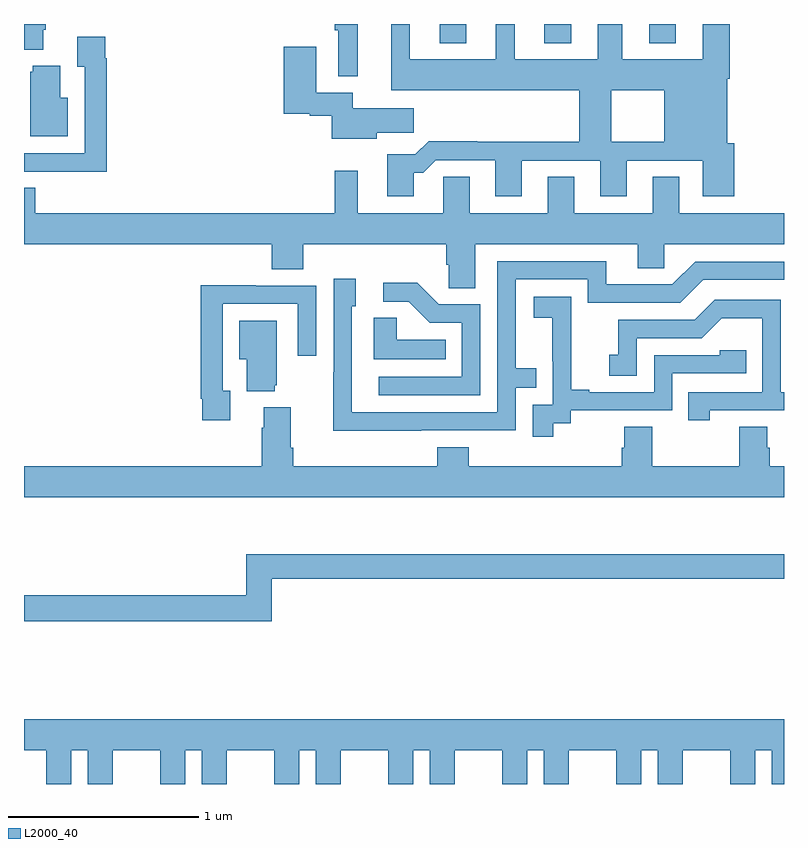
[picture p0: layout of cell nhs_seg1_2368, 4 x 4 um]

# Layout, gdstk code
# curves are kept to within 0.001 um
import gdstk
lib = gdstk.Library(unit=1e-6, precision=1e-09)
def R(c, l, rs):  # rectangles x0, y0, x1, y1
    for r in rs: c.add(gdstk.rectangle(r[:2], r[2:], *l))
def A(c, l, x, y, w, h, nx, ny, dx, dy):  # array of equal rectangles
    R(c, l, [(x+i*dx, y+j*dy, x+i*dx+w, y+j*dy+h) for i in range(nx) for j in range(ny)])
def P(c, l, *ps):  # polygons
    for p in ps: c.add(gdstk.Polygon(p, *l))
L2000_40 = (2000, 40)

nhs_seg1_2368 = lib.new_cell('nhs_seg1_2368')
A(nhs_seg1_2368, L2000_40, 241.187, 578.099, 0.14, 0.1, 3, 1, 0.552, 0)
P(nhs_seg1_2368, L2000_40, [(240.757,578.199),(240.636,578.199),(240.636,578.167),(240.653,578.167),(240.653,577.923),(240.757,577.923)],
  [(241.385,577.583),(241.13,577.583),(241.06,577.513),(240.911,577.513),(240.911,577.293),(241.051,577.293),(241.051,577.415),(241.1,577.415),(241.167,577.482),(241.481,577.482),(241.481,577.293),(241.621,577.293),(241.621,577.479),(242.033,577.479),(242.033,577.293),(242.173,577.293),(242.173,577.479),(242.573,577.479),(242.573,577.293),(242.738,577.293),(242.738,577.572),(242.701,577.572),(242.701,577.91),(242.714,577.91),(242.714,578.199),(242.573,578.199),(242.573,578.014),(242.149,578.014),(242.149,578.199),(242.021,578.199),(242.021,578.014),(241.582,578.014),(241.582,578.199),(241.484,578.199),(241.484,578.014),(241.03,578.014),(241.03,578.199),(240.932,578.199),(240.932,577.85),(241.922,577.85),(241.922,577.58),(242.092,577.58),(242.092,577.85),(242.369,577.85),(242.369,577.58),(241.385,577.58)],
  [(239,578.063),(239.101,578.063),(239.101,578.17),(239.114,578.17),(239.114,578.199),(239,578.199)],
  [(239.435,578.018),(239.428,578.018),(239.428,578.131),(239.279,578.131),(239.279,577.975),(239.319,577.975),(239.319,577.518),(239,577.518),(239,577.422),(239.143,577.422),(239.143,577.421),(239.435,577.421)],
  [(240.856,577.627),(241.051,577.627),(241.051,577.756),(240.73,577.756),(240.73,577.837),(240.538,577.837),(240.538,578.08),(240.368,578.08),(240.368,577.727),(240.504,577.727),(240.504,577.715),(240.62,577.715),(240.62,577.595),(240.856,577.595)],
  [(239.23,577.81),(239.191,577.81),(239.191,577.978),(239.045,577.978),(239.045,577.947),(239.033,577.947),(239.033,577.607),(239.23,577.607)],
  [(242.37,577.04),(243,577.04),(243,577.204),(242.449,577.204),(242.449,577.394),(242.309,577.394),(242.309,577.204),(241.897,577.204),(241.897,577.394),(241.757,577.394),(241.757,577.204),(241.345,577.204),(241.345,577.394),(241.206,577.394),(241.206,577.204),(240.757,577.204),(240.757,577.426),(240.636,577.426),(240.636,577.204),(239.06,577.204),(239.06,577.337),(239,577.337),(239,577.04),(240.305,577.04),(240.305,576.907),(240.47,576.907),(240.47,577.04),(241.223,577.04),(241.223,576.931),(241.236,576.931),(241.236,576.808),(241.375,576.808),(241.375,577.04),(242.231,577.04),(242.231,576.913),(242.37,576.913)],
  [(241.091,576.06),(241.587,576.06),(241.587,576.285),(241.697,576.285),(241.697,576.386),(241.587,576.386),(241.587,576.855),(241.968,576.855),(241.968,576.732),(242.454,576.732),(242.574,576.852),(243,576.852),(243,576.948),(242.532,576.948),(242.412,576.828),(242.065,576.828),(242.065,576.951),(241.491,576.951),(241.491,576.156),(240.726,576.156),(240.726,576.714),(240.745,576.714),(240.745,576.859),(240.63,576.859),(240.63,576.365),(240.628,576.365),(240.628,576.059)],
  [(241.401,576.723),(241.182,576.723),(241.069,576.836),(240.891,576.836),(240.891,576.738),(241.025,576.738),(241.136,576.627),(241.305,576.627),(241.305,576.342),(240.867,576.342),(240.867,576.246),(241.401,576.246)],
  [(240.085,576.27),(240.045,576.27),(240.045,576.726),(240.441,576.726),(240.441,576.453),(240.537,576.453),(240.537,576.822),(240.221,576.822),(240.221,576.824),(239.929,576.824),(239.929,576.226),(239.937,576.226),(239.937,576.114),(240.085,576.114)],
  [(241.786,576.097),(241.878,576.097),(241.878,576.165),(242.412,576.165),(242.412,576.36),(242.801,576.36),(242.801,576.483),(242.661,576.483),(242.661,576.456),(242.316,576.456),(242.316,576.261),(241.975,576.261),(241.975,576.274),(241.88,576.274),(241.88,576.557),(241.881,576.557),(241.881,576.763),(241.683,576.763),(241.683,576.653),(241.781,576.653),(241.781,576.425),(241.782,576.425),(241.782,576.195),(241.677,576.195),(241.677,576.027),(241.786,576.027)],
  [(242.608,576.165),(243,576.165),(243,576.261),(242.982,576.261),(242.982,576.747),(242.636,576.747),(242.531,576.642),(242.128,576.642),(242.128,576.457),(242.079,576.457),(242.079,576.348),(242.226,576.348),(242.226,576.546),(242.568,576.546),(242.672,576.65),(242.886,576.65),(242.886,576.261),(242.497,576.261),(242.497,576.114),(242.608,576.114)],
  [(241.22,576.538),(240.963,576.538),(240.963,576.653),(240.842,576.653),(240.842,576.434),(241.22,576.434)],
  [(240.32,576.297),(240.331,576.297),(240.331,576.637),(240.134,576.637),(240.134,576.434),(240.173,576.434),(240.173,576.266),(240.32,576.266)],
  [(243,575.872),(242.924,575.872),(242.924,575.97),(242.911,575.97),(242.911,576.08),(242.764,576.08),(242.764,575.872),(242.307,575.872),(242.307,576.08),(242.159,576.08),(242.159,575.97),(242.147,575.97),(242.147,575.872),(241.34,575.872),(241.34,575.971),(241.175,575.971),(241.175,575.872),(240.416,575.872),(240.416,575.968),(240.403,575.968),(240.403,576.181),(240.263,576.181),(240.263,576.074),(240.251,576.074),(240.251,575.872),(239,575.872),(239,575.708),(243,575.708)],
  [(240.305,575.278),(243,575.278),(243,575.407),(240.169,575.407),(240.169,575.192),(239,575.192),(239,575.056),(240.305,575.056)],
  [(239.248,574.376),(239.336,574.376),(239.336,574.199),(239.467,574.199),(239.467,574.376),(239.717,574.376),(239.717,574.199),(239.848,574.199),(239.848,574.376),(239.936,574.376),(239.936,574.199),(240.067,574.199),(240.067,574.376),(240.317,574.376),(240.317,574.199),(240.448,574.199),(240.448,574.376),(240.536,574.376),(240.536,574.199),(240.667,574.199),(240.667,574.376),(240.917,574.376),(240.917,574.199),(241.048,574.199),(241.048,574.376),(241.136,574.376),(241.136,574.199),(241.267,574.199),(241.267,574.376),(241.517,574.376),(241.517,574.199),(241.648,574.199),(241.648,574.376),(241.736,574.376),(241.736,574.199),(241.867,574.199),(241.867,574.376),(242.117,574.376),(242.117,574.199),(242.248,574.199),(242.248,574.376),(242.336,574.376),(242.336,574.199),(242.467,574.199),(242.467,574.376),(242.717,574.376),(242.717,574.199),(242.848,574.199),(242.848,574.376),(242.936,574.376),(242.936,574.199),(243,574.199),(243,574.54),(239,574.54),(239,574.376),(239.117,574.376),(239.117,574.199),(239.248,574.199)])

lib.write_gds('nhs_seg1_2368.gds')
